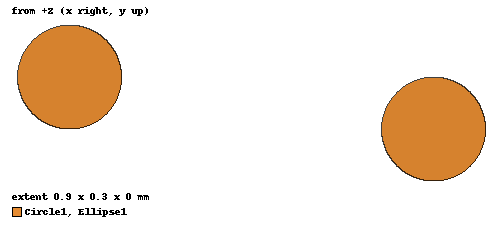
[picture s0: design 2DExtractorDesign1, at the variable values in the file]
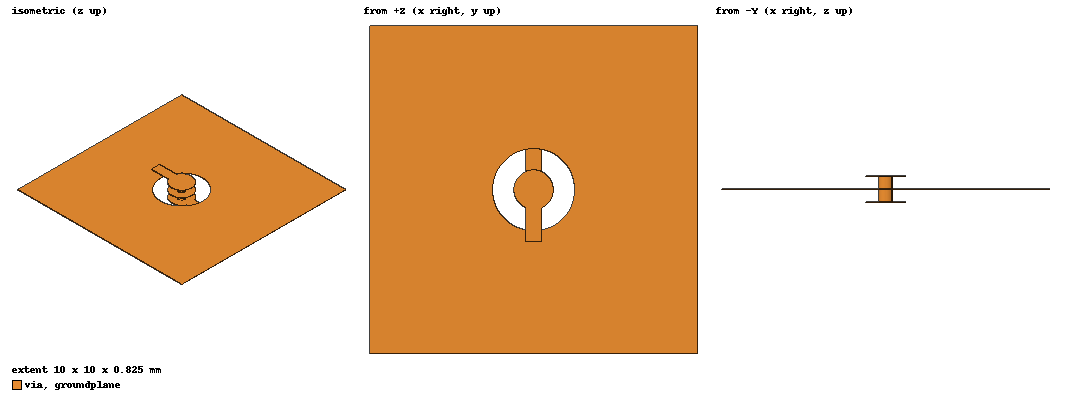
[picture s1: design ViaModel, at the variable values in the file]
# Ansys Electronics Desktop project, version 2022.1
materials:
  vacuum: permittivity=1
  copper: permeability=0.999991 conductivity=58000000
  FR4_epoxy: permittivity=4.4 dielectric_loss_tangent=0.02

design 2DExtractorDesign1 (2D Extractor, Open, model units mm)
options: LumpedLength=1meter RiseTime=1ns DistribLengthUnits=meter Calculate_Lossy_Dielectrics
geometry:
  Ellipse1 [copper] = ellipse(normal=Z, centre=(-1.2mm, -0.2mm, 0mm), major_radius=0.1mm, ratio=1)
  Circle1 [copper] = circle(normal=Z, centre=(-1.9mm, -0.1mm, 0mm), radius=0.1mm)
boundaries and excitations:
  Ellipse1: SignalLine Objects=Ellipse1 SolveOption=SolveInside Thickness=-1000mm
  Circle1: ReferenceGround Objects=Circle1 SolveOption=SolveInside Thickness=-1000mm
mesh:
  initial mesh: MeshMethod=AnsoftTAU
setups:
  Setup1: 2DMatrix AdaptiveFreq=0.1GHz SaveFields CGDataBlock{MaxPass=2 MinPass=1 MinConvPass=1 PerError=1 PerRefine=30 Included PerErrorParamConv=1} RLDataBlock{MaxPass=2 MinPass=1 MinConvPass=1 PerError=1 PerRefine=30 Included PerErrorParamConv=1} ConstantDelta=0s
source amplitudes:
  Ellipse1: CG Fields 1V 0deg
  Ellipse1: RL Fields 1A 0deg

design ViaModel (Q3D Extractor, model units mm)
options: Background_Material=FR4_epoxy SParamCalcMethod=EqTransLine
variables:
  viarad = 0.2mm
  padrad = 0.6mm
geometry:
  via [copper] = cylinder(axis=Z, base_centre=(0mm, 0mm, 0mm), radius=viarad, height=0.8mm)
  pad1 = cylinder(axis=Z, base_centre=(0mm, 0mm, 0mm), radius=padrad, height=0.025mm)
  pad1_1, pad1_2 = pad1.duplicate_along_line(step=(0mm, 0mm, 0.4mm), total=3)
  Box1 = box(corner=(-0.25mm, 0.4mm, 0mm), size=(0.5mm, 1.2mm, 0.025mm))
  Box2 = box(corner=(-0.25mm, -0.4mm, 0.8mm), size=(0.5mm, -1.2mm, 0.025mm))
  via.unite(pad1, pad1_1, pad1_2, Box1, Box2)
  groundplane [copper] = box(corner=(-5mm, -5mm, 0.4mm), size=(10mm, 10mm, 0.025mm))
  hole = cylinder(axis=Z, base_centre=(0mm, 0mm, 0.4mm), radius=1.25mm, height=0.025mm)
  groundplane.subtract(hole)
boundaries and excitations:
  via: SignalNet Objects=via
  groundplane: SignalNet Objects=groundplane
  Source1: Source Faces=via.face(3 of 6) TerminalType=ConstantVoltage Net=via
  Sink1: Sink Faces=via.face(5 of 6) TerminalType=ConstantVoltage Net=via
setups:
  Setup1: Matrix AdaptiveFreq=10MHz SaveFields Cap{MaxPass=2 MinPass=1 MinConvPass=1 PerError=1 PerRefine=30 AutoIncreaseSolutionOrder SolutionOrder=Normal Solver_Type=Iterative} DC{SolveResOnly Cond{MaxPass=2 MinPass=1 MinConvPass=1 PerError=1 PerRefine=30} Mult{MaxPass=1 MinPass=1 MinConvPass=1 PerError=1 PerRefine=30} Solution_Order=Normal} AC{MaxPass=2 MinPass=1 MinConvPass=1 PerError=1 PerRefine=30} ErrorValue=0.1
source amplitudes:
  via:Source1: AC 1A
  groundplane: Cap 0V 0deg
  via: Cap 1V 0deg
  via:Source1: DC 1A
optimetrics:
  ParametricSetup1: Parametric Sim._Setups=[Setup1]
    sweep padrad: LIN 0.5mm 1.1mm 0.1mm
    table edits: del(1mm) del(0.8mm) del(0.6mm)
    calculate via_cap on Setup1 : LastAdaptive at Freq 100MHz to 0
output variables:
  via_cap = C(via,via)
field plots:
  SmoothQ1: Q over via.face(all 17) on Setup1 : LastAdaptive at Freq=0.01GHz Phase=0deg
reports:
  XY Plot 2: C(via,via) vs padrad on Setup1 : LastAdaptive [viarad=all Freq=all]
  XY Plot 1: C(via,via) vs viarad on Setup1 : LastAdaptive [padrad=all Freq=all]
